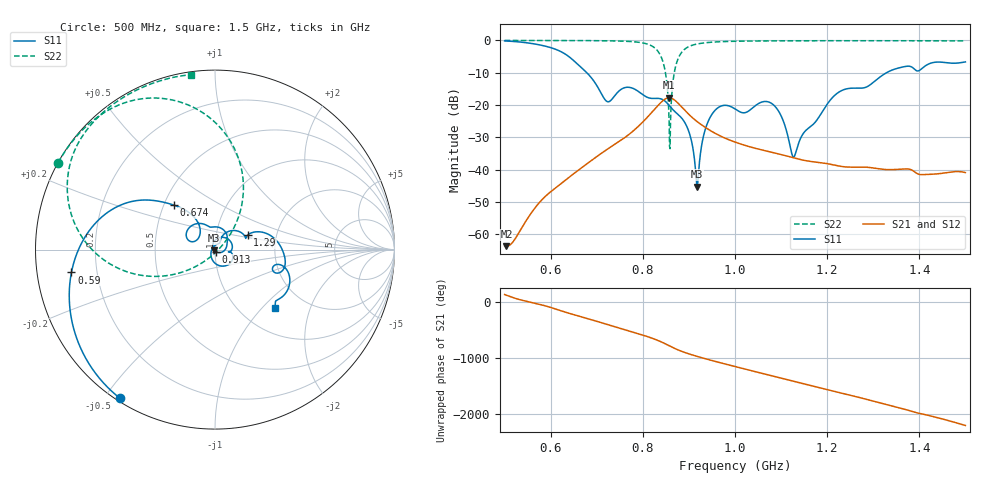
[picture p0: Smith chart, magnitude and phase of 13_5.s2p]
! TOUCHSTONE file generated by CST MICROWAVE STUDIO
! Date and time: Fri Oct  2 19:09:54 2020
! Project name: Scenario_1_Free_Space_out_of_line.cst
! Parameters = {Lambda=346.42; Step_1=17.321; dy1=139.548; dx1=866; L_HA=400; MT=2.54; Rad_Dielectric=30; Rad_Lower=7.3; Rad_Upper=30; a_HA=580; a_WG=246; b_HA=500; b_WG=121; c_HA=0; c_WG=187; d_feed=85; h_feed=15; h_lower=18; h_upper=40}
! Header version: 2018
! Port assignment regex: !\s*Touchstone port\s*([0-9]+)\s*=\s*(CST MWS port|CST DS port)\s*([0-9]+|Zmin|Zmax)\s*\(\"(.*)\"\)(\s*mode\s*([0-9]+))?.*
! Touchstone port assignment:
! Touchstone port 1 = CST MWS port 1 ("")
! Touchstone port 2 = CST MWS port 2 ("")
# GHz S DB R 50
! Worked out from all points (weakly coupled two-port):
!   1003 points, 500 MHz to 1.5 GHz, reference 50 ohm
!   highest |S21| = -17.76 dB at 857 MHz (marker M1); lowest = -63.7 dB at 504 MHz (marker M2)
!   lowest |S11| = -45.2 dB at 918 MHz (marker M3), VSWR 1.01, Z = 49.6 - j0.309 ohm
!   |S11| at or under -10 dB: 678.4 MHz to 1.329 GHz (650.4 MHz wide, 64.8 % of centre)
!   |S22| runs from -33.5 to 0.0 dB; largest |S21 - S12| = 1.5e-05
!   S11 on the Smith chart (normalised r, x): 500 MHz: 0.01, -0.55; 590 MHz: 0.11, -0.08; 674 MHz: 0.56, +0.32; 913 MHz: 1.01, -0.02; 1.29 GHz: 1.42, +0.24; 1.5 GHz: 1.43, -1.18
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0.5  -0.15 -122.5  -63.60 140.6  -63.60 140.6  -0.01 151.1
0.504  -0.18 -124.4  -63.70 129.2  -63.70 129.2  -0.01 150.9
0.59  -1.83 -170.9  -48.08 -65.5  -48.08 -65.5  -0.02 144.9
0.667  -8.46 136.3  -39.42 101.0  -39.42 101.0  -0.04 138.3
0.674  -9.39 132.9  -38.68 84.6  -38.68 84.6  -0.05 137.6
0.723  -18.95 142.5  -33.68 -35.0  -33.68 -35.0  -0.11 131.8
0.834  -17.95 83.9  -19.96 35.0  -19.96 35.0  -3.60 85.9
0.848  -18.77 61.0  -18.18 -17.1  -18.18 -17.1  -9.17 63.1
0.857  -20.09 46.3  -17.76 -54.0  -17.76 -54.0  -25.21 33.3
0.876  -22.86 22.0  -19.37 -128.2  -19.37 -128.2  -5.82 -166.3
0.9  -28.28 -23.8  -22.93 159.4  -22.93 159.4  -1.89 168.5
0.913  -38.10 -67.9  -24.58 126.2  -24.58 126.2  -1.25 161.1
0.918  -45.23 -145.2  -25.14 114.0  -25.14 114.0  -1.09 158.9
0.948  -23.32 72.6  -28.03 44.5  -28.03 44.5  -0.56 149.5
1  -21.20 -6.6  -31.47 -66.8  -31.47 -66.8  -0.26 140.2
1.082  -19.77 -63.8  -34.70 121.9  -34.70 121.9  -0.14 131.3
1.127  -36.15 147.9  -36.36 28.2  -36.36 28.2  -0.11 127.4
1.167  -26.34 55.0  -37.52 -51.8  -37.52 -51.8  -0.09 124.1
1.223  -16.23 43.5  -38.81 -166.9  -38.81 -166.9  -0.09 119.8
1.29  -14.06 23.8  -39.30 55.9  -39.30 55.9  -0.09 114.8
1.334  -9.61 11.9  -40.00 -36.3  -40.00 -36.3  -0.09 111.4
1.5  -6.65 -44.0  -40.91 -40.8  -40.93 -40.8  -0.14 97.9
